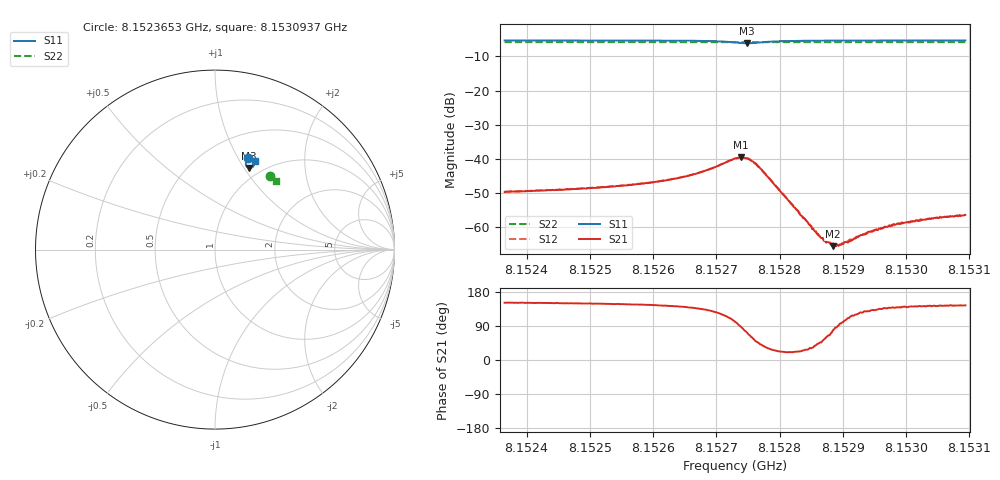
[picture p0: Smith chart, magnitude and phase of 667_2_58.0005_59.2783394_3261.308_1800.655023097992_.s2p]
#  HZ  S  RI  R  50.00
! Rohde & Schwarz Vector Network Analyzer
! Rohde-Schwarz,ZNB20-2Port,1311601062101988,3.16
! Created: UTC 3/21/2024, 1:20:12 AM
! freq[Hz]  re:S11  im:S11  re:S21  im:S21  re:S12  im:S12  re:S22  im:S22
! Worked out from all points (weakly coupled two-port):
!   401 points, 8.1523653 GHz to 8.1530937 GHz, reference 50 ohm
!   highest |S21| = -39.62 dB at 8.1527386 GHz (marker M1); lowest = -65.6 dB at 8.1528843 GHz (marker M2)
!   lowest |S11| = -6.2 dB at 8.1527477 GHz (marker M3), VSWR 2.94, Z = 43.6 + j52.4 ohm
!   |S11| at or under -10 dB: nowhere
!   |S22| runs from -5.9 to -5.8 dB; largest |S21 - S12| = 0.0003
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8.15236527e9  0.1818 0.5091  -0.00284 0.00157  -0.00289 0.00164  0.3051 0.4106
8.15248727e9  0.1917 0.5054  -0.00314 0.00187  -0.00314 0.00191  0.3113 0.4058
8.15256012e9  0.1983 0.5023  -0.00344 0.00223  -0.00345 0.00229  0.3149 0.4028
8.15260928e9  0.2038 0.4993  -0.00376 0.00272  -0.00378 0.00277  0.3174 0.4007
8.15266938e9  0.2121 0.4912  -0.0044 0.00421  -0.00437 0.00429  0.3203 0.398
8.15269123e9  0.2156 0.4847  -0.00455 0.00548  -0.0045 0.00557  0.3215 0.3969
8.15272947e9  0.2094 0.4599  -0.0019 0.00992  -0.00193 0.00993  0.3226 0.3946
8.15273858e9  0.1996 0.4549  0.000379 0.0104  0.000336 0.0106  0.3226 0.3942
8.15274768e9  0.1869 0.4553  0.00286 0.00973  0.00303 0.00971  0.3226 0.394
8.15276043e9  0.174 0.4666  0.00512 0.00679  0.00526 0.00705  0.3229 0.3941
8.15277135e9  0.1717 0.4785  0.00529 0.00452  0.00538 0.00444  0.3234 0.3941
8.15285148e9  0.195 0.4998  0.000786 0.000495  0.000842 0.000511  0.3285 0.3913
8.15287151e9  0.1983 0.4999  0.000349 0.00052  0.000341 0.000531  0.3294 0.3905
8.15288426e9  0.2004 0.4997  0.000108 0.000512  0.000133 0.000559  0.3301 0.3899
8.15288972e9  0.2011 0.4997  3.93e-05 0.000522  3.67e-05 0.000541  0.3303 0.3897
8.15289701e9  0.2023 0.4995  -6.21e-05 0.000546  -8.15e-05 0.000545  0.3307 0.3894
8.15291157e9  0.2039 0.4992  -0.000256 0.000564  -0.000248 0.00061  0.3314 0.3889
8.15292614e9  0.2058 0.4989  -0.000412 0.000607  -0.0004 0.000625  0.3321 0.3881
8.15294071e9  0.2073 0.4985  -0.000533 0.000668  -0.000539 0.000632  0.3329 0.3874
8.15297349e9  0.2105 0.4977  -0.000784 0.000709  -0.000757 0.000714  0.3344 0.3862
8.15301901e9  0.2146 0.4963  -0.000962 0.000757  -0.000975 0.000773  0.3366 0.3841
8.15309368e9  0.2205 0.4942  -0.00122 0.000881  -0.00121 0.000897  0.3401 0.3809
